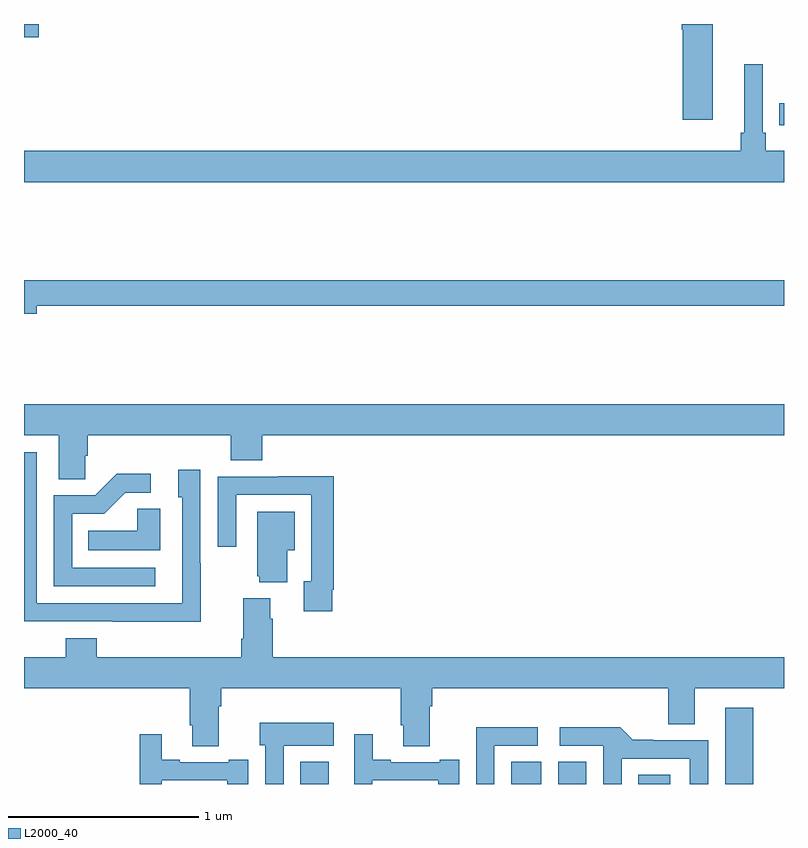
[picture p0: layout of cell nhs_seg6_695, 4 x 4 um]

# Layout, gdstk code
import gdstk
lib = gdstk.Library(unit=1e-6, precision=1e-09)
def R(c, l, rs):  # rectangles x0, y0, x1, y1
    for r in rs: c.add(gdstk.rectangle(r[:2], r[2:], *l))
def P(c, l, *ps):  # polygons
    for p in ps: c.add(gdstk.Polygon(p, *l))
L2000_40 = (2000, 40)

nhs_seg6_695 = lib.new_cell('nhs_seg6_695')
R(nhs_seg6_695, L2000_40, [(156.455,945.5,156.604,945.616), (157.565,945.5,157.723,945.617), (157.811,945.5,157.96,945.617), (158.234,945.5,158.401,945.548), (158.69,945.5,158.837,945.901), (158.974,948.966,159,949.082), (155,949.43,155.077,949.5)])
P(nhs_seg6_695, L2000_40, [(158.626,949.5),(158.462,949.5),(158.462,949.47),(158.468,949.47),(158.468,948.996),(158.626,948.996)],
  [(159,948.832),(158.903,948.832),(158.903,948.928),(158.889,948.928),(158.889,949.288),(158.792,949.288),(158.792,948.928),(158.773,948.928),(158.773,948.832),(155,948.832),(155,948.668),(159,948.668)],
  [(155.068,948.016),(159,948.016),(159,948.152),(155,948.152),(155,947.974),(155.068,947.974)],
  [(155.322,947.227),(155.336,947.227),(155.336,947.336),(156.089,947.336),(156.089,947.203),(156.254,947.203),(156.254,947.336),(159,947.336),(159,947.5),(155,947.5),(155,947.336),(155.183,947.336),(155.183,947.104),(155.322,947.104)],
  [(155.931,946.661),(155.928,946.661),(155.928,947.155),(155.813,947.155),(155.813,947.01),(155.832,947.01),(155.832,946.452),(155.067,946.452),(155.067,947.247),(155,947.247),(155,946.356),(155.467,946.356),(155.467,946.355),(155.931,946.355)],
  [(155.692,946.638),(155.253,946.638),(155.253,946.923),(155.422,946.923),(155.533,947.034),(155.668,947.034),(155.668,947.132),(155.489,947.132),(155.376,947.019),(155.157,947.019),(155.157,946.542),(155.692,946.542)],
  [(156.622,946.522),(156.629,946.522),(156.629,947.12),(156.337,947.12),(156.337,947.118),(156.021,947.118),(156.021,946.749),(156.117,946.749),(156.117,947.022),(156.513,947.022),(156.513,946.566),(156.473,946.566),(156.473,946.41),(156.622,946.41)],
  [(155.716,946.949),(155.595,946.949),(155.595,946.834),(155.338,946.834),(155.338,946.73),(155.716,946.73)],
  [(156.385,946.73),(156.424,946.73),(156.424,946.933),(156.227,946.933),(156.227,946.593),(156.239,946.593),(156.239,946.562),(156.385,946.562)],
  [(156.025,945.908),(156.038,945.908),(156.038,946.004),(156.983,946.004),(156.983,945.808),(156.995,945.808),(156.995,945.7),(157.135,945.7),(157.135,945.908),(157.148,945.908),(157.148,946.004),(158.39,946.004),(158.39,945.814),(158.53,945.814),(158.53,946.004),(159,946.004),(159,946.168),(156.308,946.168),(156.308,946.37),(156.295,946.37),(156.295,946.477),(156.155,946.477),(156.155,946.264),(156.143,946.264),(156.143,946.168),(155.384,946.168),(155.384,946.267),(155.219,946.267),(155.219,946.168),(155,946.168),(155,946.004),(155.873,946.004),(155.873,945.808),(155.885,945.808),(155.885,945.7),(156.025,945.7)],
  [(156.366,945.701),(156.631,945.701),(156.631,945.823),(156.242,945.823),(156.242,945.705),(156.27,945.705),(156.27,945.5),(156.366,945.5)],
  [(158.145,945.633),(158.505,945.633),(158.505,945.5),(158.601,945.5),(158.601,945.729),(158.311,945.729),(158.311,945.734),(158.203,945.734),(158.138,945.8),(157.821,945.8),(157.821,945.702),(158.049,945.702),(158.049,945.5),(158.145,945.5)],
  [(157.476,945.702),(157.705,945.702),(157.705,945.8),(157.38,945.8),(157.38,945.5),(157.476,945.5)],
  [(155.724,945.519),(156.071,945.519),(156.071,945.5),(156.181,945.5),(156.181,945.628),(156.077,945.628),(156.077,945.615),(155.821,945.615),(155.821,945.628),(155.725,945.628),(155.725,945.763),(155.608,945.763),(155.608,945.5),(155.724,945.5)],
  [(156.834,945.519),(157.181,945.519),(157.181,945.5),(157.291,945.5),(157.291,945.628),(157.187,945.628),(157.187,945.615),(156.931,945.615),(156.931,945.628),(156.835,945.628),(156.835,945.763),(156.737,945.763),(156.737,945.522),(156.738,945.522),(156.738,945.5),(156.834,945.5)])

lib.write_gds('nhs_seg6_695.gds')
